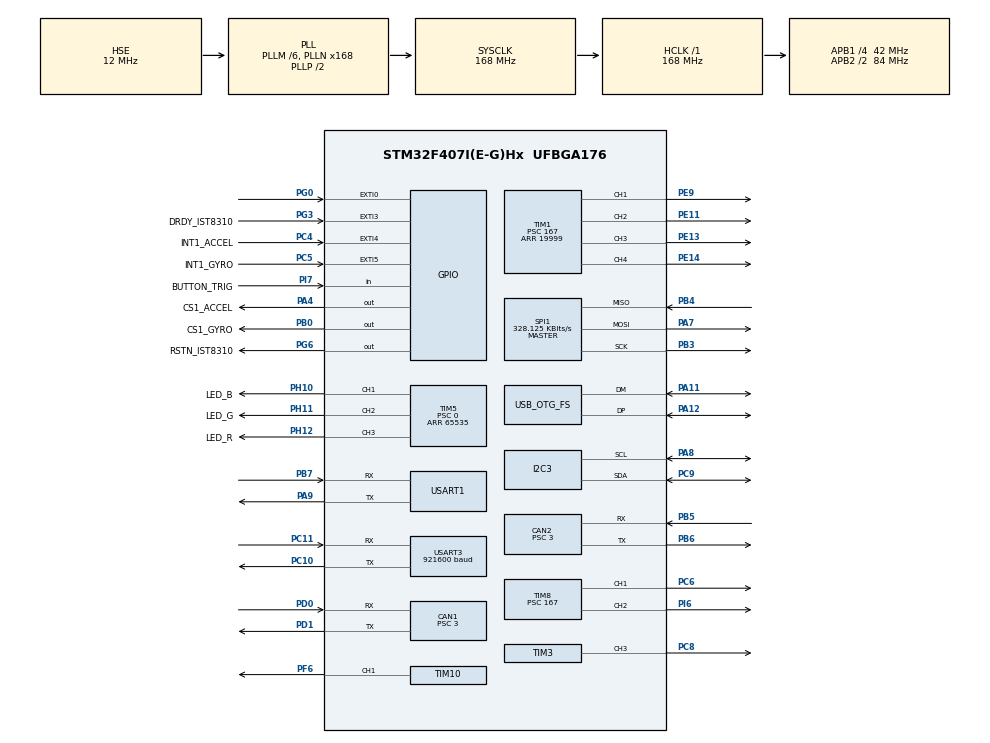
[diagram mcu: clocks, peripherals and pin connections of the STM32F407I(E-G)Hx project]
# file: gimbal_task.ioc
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CAN1.BS1=CAN_BS1_10TQ
CAN1.BS2=CAN_BS2_3TQ
CAN1.CalculateBaudRate=1000000
CAN1.CalculateTimeQuantum=71.42857142857143
CAN1.Prescaler=3
CAN2.BS1=CAN_BS1_10TQ
CAN2.BS2=CAN_BS2_3TQ
CAN2.CalculateBaudRate=1000000
CAN2.CalculateTimeQuantum=71.42857142857143
CAN2.Prescaler=3
Dma.Request0=SPI1_RX
Dma.Request1=SPI1_TX
Dma.Request2=USART3_RX
Dma.SPI1_RX.0.Direction=DMA_PERIPH_TO_MEMORY
Dma.SPI1_RX.0.FIFOMode=DMA_FIFOMODE_DISABLE
Dma.SPI1_RX.0.Instance=DMA2_Stream2
Dma.SPI1_RX.0.MemDataAlignment=DMA_MDATAALIGN_BYTE
Dma.SPI1_RX.0.MemInc=DMA_MINC_ENABLE
Dma.SPI1_RX.0.Mode=DMA_NORMAL
Dma.SPI1_RX.0.PeriphDataAlignment=DMA_PDATAALIGN_BYTE
Dma.SPI1_RX.0.PeriphInc=DMA_PINC_DISABLE
Dma.SPI1_RX.0.Priority=DMA_PRIORITY_VERY_HIGH
Dma.SPI1_TX.1.Direction=DMA_MEMORY_TO_PERIPH
Dma.SPI1_TX.1.FIFOMode=DMA_FIFOMODE_DISABLE
Dma.SPI1_TX.1.Instance=DMA2_Stream3
Dma.SPI1_TX.1.MemDataAlignment=DMA_MDATAALIGN_BYTE
Dma.SPI1_TX.1.MemInc=DMA_MINC_ENABLE
Dma.SPI1_TX.1.Mode=DMA_NORMAL
Dma.SPI1_TX.1.PeriphDataAlignment=DMA_PDATAALIGN_BYTE
Dma.SPI1_TX.1.PeriphInc=DMA_PINC_DISABLE
Dma.SPI1_TX.1.Priority=DMA_PRIORITY_HIGH
Dma.USART3_RX.2.Direction=DMA_PERIPH_TO_MEMORY
Dma.USART3_RX.2.FIFOMode=DMA_FIFOMODE_DISABLE
Dma.USART3_RX.2.Instance=DMA1_Stream1
Dma.USART3_RX.2.MemDataAlignment=DMA_MDATAALIGN_BYTE
Dma.USART3_RX.2.MemInc=DMA_MINC_ENABLE
Dma.USART3_RX.2.Mode=DMA_NORMAL
Dma.USART3_RX.2.PeriphDataAlignment=DMA_PDATAALIGN_BYTE
Dma.USART3_RX.2.PeriphInc=DMA_PINC_DISABLE
Dma.USART3_RX.2.Priority=DMA_PRIORITY_HIGH
FREERTOS.INCLUDE_eTaskGetState=1
FREERTOS.INCLUDE_pcTaskGetTaskName=1
FREERTOS.INCLUDE_uxTaskGetStackHighWaterMark=1
FREERTOS.INCLUDE_vTaskCleanUpResources=1
FREERTOS.INCLUDE_vTaskDelayUntil=1
FREERTOS.INCLUDE_xEventGroupSetBitFromISR=1
FREERTOS.INCLUDE_xQueueGetMutexHolder=1
FREERTOS.INCLUDE_xSemaphoreGetMutexHolder=1
FREERTOS.INCLUDE_xTaskAbortDelay=1
FREERTOS.INCLUDE_xTaskGetCurrentTaskHandle=1
FREERTOS.INCLUDE_xTaskGetHandle=1
FREERTOS.INCLUDE_xTimerPendFunctionCall=1
FREERTOS.Tasks01=test,24,128,test_task,As weak,NULL,Dynamic,NULL,NULL
FREERTOS.configTOTAL_HEAP_SIZE=24576
I2C3.I2C_Mode=I2C_Fast
Mcu.Family=STM32F4
Mcu.Name=STM32F407I(E-G)Hx
Mcu.Package=UFBGA176
NVIC.CAN1_RX0_IRQn=true\:6\:0\:true\:false\:true\:true\:true\:true\:true
NVIC.CAN2_RX0_IRQn=true\:6\:0\:true\:false\:true\:true\:true\:true\:true
NVIC.DMA1_Stream1_IRQn=true\:5\:0\:true\:false\:false\:true\:false\:false\:true
NVIC.DMA2_Stream2_IRQn=true\:5\:0\:true\:false\:false\:true\:false\:true\:true
NVIC.DMA2_Stream3_IRQn=true\:5\:0\:true\:false\:false\:true\:false\:true\:true
NVIC.EXTI0_IRQn=true\:6\:0\:true\:false\:true\:true\:true\:true\:true
NVIC.EXTI3_IRQn=true\:5\:0\:true\:false\:true\:true\:true\:true\:true
NVIC.EXTI4_IRQn=true\:5\:0\:true\:false\:true\:true\:true\:true\:true
NVIC.EXTI9_5_IRQn=true\:5\:0\:true\:false\:true\:true\:true\:true\:true
NVIC.OTG_FS_IRQn=true\:5\:0\:false\:false\:true\:true\:true\:true\:true
NVIC.PriorityGroup=NVIC_PRIORITYGROUP_4
NVIC.USART1_IRQn=true\:5\:0\:false\:false\:true\:true\:true\:true\:true
NVIC.USART3_IRQn=true\:4\:0\:true\:false\:false\:false\:true\:true\:true
PA11.Mode=Device_Only
PA11.Signal=USB_OTG_FS_DM
PA12.Mode=Device_Only
PA12.Signal=USB_OTG_FS_DP
PA13.Mode=Serial_Wire
PA13.Signal=SYS_JTMS-SWDIO
PA14.Mode=Serial_Wire
PA14.Signal=SYS_JTCK-SWCLK
PA4.GPIO_Label=CS1_ACCEL
PA4.GPIO_PuPd=GPIO_PULLUP
PA4.GPIO_Speed=GPIO_SPEED_FREQ_HIGH
PA4.PinState=GPIO_PIN_SET
PA4.Signal=GPIO_Output
PA7.GPIO_PuPd=GPIO_PULLUP
PA7.Mode=Full_Duplex_Master
PA7.Signal=SPI1_MOSI
PA8.GPIO_Pu=GPIO_PULLUP
PA8.Mode=I2C
PA8.Signal=I2C3_SCL
PA9.Mode=Asynchronous
PA9.Signal=USART1_TX
PB0.GPIO_Label=CS1_GYRO
PB0.GPIO_PuPd=GPIO_PULLUP
PB0.GPIO_Speed=GPIO_SPEED_FREQ_HIGH
PB0.PinState=GPIO_PIN_SET
PB0.Signal=GPIO_Output
PB3.GPIO_PuPd=GPIO_PULLUP
PB3.Mode=Full_Duplex_Master
PB3.Signal=SPI1_SCK
PB4.GPIO_PuPd=GPIO_PULLUP
PB4.Mode=Full_Duplex_Master
PB4.Signal=SPI1_MISO
PB5.Mode=CAN_Activate
PB5.Signal=CAN2_RX
PB6.Mode=CAN_Activate
PB6.Signal=CAN2_TX
PB7.Mode=Asynchronous
PB7.Signal=USART1_RX
PC10.Mode=Asynchronous
PC10.Signal=USART3_TX
PC11.Mode=Asynchronous
PC11.Signal=USART3_RX
PC4.GPIO_Label=INT1_ACCEL
PC4.GPIO_ModeDefaultEXTI=GPIO_MODE_IT_FALLING
PC4.GPIO_PuPd=GPIO_PULLUP
PC4.Signal=GPXTI4
PC5.GPIO_Label=INT1_GYRO
PC5.GPIO_ModeDefaultEXTI=GPIO_MODE_IT_FALLING
PC5.GPIO_PuPd=GPIO_PULLUP
PC5.Signal=GPXTI5
PC6.GPIO_PuPd=GPIO_PULLUP
PC6.GPIO_Speed=GPIO_SPEED_FREQ_HIGH
PC6.Signal=S_TIM8_CH1
PC8.GPIO_PuPd=GPIO_PULLUP
PC8.GPIO_Speed=GPIO_SPEED_FREQ_HIGH
PC8.Signal=S_TIM3_CH3
PC9.GPIO_Pu=GPIO_PULLUP
PC9.Mode=I2C
PC9.Signal=I2C3_SDA
PD0.Mode=CAN_Activate
PD0.Signal=CAN1_RX
PD1.Mode=CAN_Activate
PD1.Signal=CAN1_TX
PE11.GPIO_PuPd=GPIO_PULLUP
PE11.GPIO_Speed=GPIO_SPEED_FREQ_HIGH
PE11.Signal=S_TIM1_CH2
PE13.GPIO_PuPd=GPIO_PULLUP
PE13.GPIO_Speed=GPIO_SPEED_FREQ_HIGH
PE13.Signal=S_TIM1_CH3
PE14.GPIO_PuPd=GPIO_PULLUP
PE14.GPIO_Speed=GPIO_SPEED_FREQ_HIGH
PE14.Signal=S_TIM1_CH4
PE9.GPIO_PuPd=GPIO_PULLUP
PE9.GPIO_Speed=GPIO_SPEED_FREQ_HIGH
PE9.Signal=S_TIM1_CH1
PF6.GPIO_PuPd=GPIO_PULLUP
PF6.GPIO_Speed=GPIO_SPEED_FREQ_HIGH
PF6.Signal=S_TIM10_CH1
PG0.GPIO_ModeDefaultEXTI=GPIO_MODE_IT_FALLING
PG0.GPIO_PuPd=GPIO_PULLUP
PG0.Signal=GPXTI0
PG3.GPIO_Label=DRDY_IST8310
PG3.GPIO_ModeDefaultEXTI=GPIO_MODE_IT_FALLING
PG3.GPIO_PuPd=GPIO_PULLUP
PG3.Signal=GPXTI3
PG6.GPIO_Label=RSTN_IST8310
PG6.GPIO_PuPd=GPIO_PULLUP
PG6.GPIO_Speed=GPIO_SPEED_FREQ_MEDIUM
PG6.PinState=GPIO_PIN_SET
PG6.Signal=GPIO_Output
PH0-OSC_IN.Mode=HSE-External-Oscillator
PH0-OSC_IN.Signal=RCC_OSC_IN
PH1-OSC_OUT.Mode=HSE-External-Oscillator
PH1-OSC_OUT.Signal=RCC_OSC_OUT
PH10.GPIO_Label=LED_B
PH10.GPIO_PuPd=GPIO_PULLUP
PH10.GPIO_Speed=GPIO_SPEED_FREQ_HIGH
PH10.Signal=S_TIM5_CH1
PH11.GPIO_Label=LED_G
PH11.GPIO_PuPd=GPIO_PULLUP
PH11.GPIO_Speed=GPIO_SPEED_FREQ_HIGH
PH11.Signal=S_TIM5_CH2
PH12.GPIO_Label=LED_R
PH12.GPIO_PuPd=GPIO_PULLUP
PH12.GPIO_Speed=GPIO_SPEED_FREQ_HIGH
PH12.Signal=S_TIM5_CH3
PI6.GPIO_PuPd=GPIO_PULLUP
PI6.GPIO_Speed=GPIO_SPEED_FREQ_HIGH
PI6.Signal=S_TIM8_CH2
PI7.GPIO_Label=BUTTON_TRIG
PI7.GPIO_PuPd=GPIO_PULLUP
PI7.Signal=GPIO_Input
ProjectManager.HeapSize=0x2000
ProjectManager.StackSize=0x2000
ProjectManager.TargetToolchain=MDK-ARM V5
RCC.48MHZClocksFreq_Value=48000000
RCC.AHBFreq_Value=168000000
RCC.APB1CLKDivider=RCC_HCLK_DIV4
RCC.APB1Freq_Value=42000000
RCC.APB1TimFreq_Value=84000000
RCC.APB2CLKDivider=RCC_HCLK_DIV2
RCC.APB2Freq_Value=84000000
RCC.APB2TimFreq_Value=168000000
RCC.CortexFreq_Value=168000000
RCC.HCLKFreq_Value=168000000
RCC.HSE_VALUE=12000000
RCC.HSI_VALUE=16000000
RCC.LSE_VALUE=32768
RCC.PLLM=6
RCC.PLLN=168
RCC.PLLQ=7
RCC.RCC_RTC_Clock_SourceVirtual=RCC_RTCCLKSOURCE_HSE_DIV30
RCC.RCC_RTC_Clock_Source_FROM_HSE=RCC_RTCCLKSOURCE_HSE_DIV30
RCC.SYSCLKFreq_VALUE=168000000
RCC.SYSCLKSource=RCC_SYSCLKSOURCE_PLLCLK
RCC.VCOOutputFreq_Value=336000000
RTC.AsynchPrediv=124
RTC.SynchPrediv=3199
SH.S_TIM10_CH1.0=TIM10_CH1,PWM Generation1 CH1
SH.S_TIM1_CH1.0=TIM1_CH1,PWM Generation1 CH1
SH.S_TIM1_CH2.0=TIM1_CH2,PWM Generation2 CH2
SH.S_TIM1_CH3.0=TIM1_CH3,PWM Generation3 CH3
SH.S_TIM1_CH4.0=TIM1_CH4,PWM Generation4 CH4
SH.S_TIM3_CH3.0=TIM3_CH3,PWM Generation3 CH3
SH.S_TIM5_CH1.0=TIM5_CH1,PWM Generation1 CH1
SH.S_TIM5_CH2.0=TIM5_CH2,PWM Generation2 CH2
SH.S_TIM5_CH3.0=TIM5_CH3,PWM Generation3 CH3
SH.S_TIM8_CH1.0=TIM8_CH1,PWM Generation1 CH1
SH.S_TIM8_CH2.0=TIM8_CH2,PWM Generation2 CH2
SPI1.BaudRatePrescaler=SPI_BAUDRATEPRESCALER_256
SPI1.CLKPhase=SPI_PHASE_2EDGE
SPI1.CLKPolarity=SPI_POLARITY_HIGH
SPI1.CalculateBaudRate=328.125 KBits/s
SPI1.Direction=SPI_DIRECTION_2LINES
SPI1.Mode=SPI_MODE_MASTER
SPI1.VirtualType=VM_MASTER
TIM1.Channel-PWM\ Generation1\ CH1=TIM_CHANNEL_1
TIM1.Channel-PWM\ Generation2\ CH2=TIM_CHANNEL_2
TIM1.Channel-PWM\ Generation3\ CH3=TIM_CHANNEL_3
TIM1.Channel-PWM\ Generation4\ CH4=TIM_CHANNEL_4
TIM1.Period=19999
TIM1.Prescaler=167
TIM1.Pulse-PWM\ Generation1\ CH1=1000
TIM1.Pulse-PWM\ Generation2\ CH2=1000
TIM1.Pulse-PWM\ Generation3\ CH3=1000
TIM1.Pulse-PWM\ Generation4\ CH4=1000
TIM10.Channel=TIM_CHANNEL_1
TIM10.Period=4999
TIM3.Channel-PWM\ Generation3\ CH3=TIM_CHANNEL_3
TIM3.Period=8399
TIM4.Period=65535
TIM4.Prescaler=167
TIM5.Channel-PWM\ Generation1\ CH1=TIM_CHANNEL_1
TIM5.Channel-PWM\ Generation2\ CH2=TIM_CHANNEL_2
TIM5.Channel-PWM\ Generation3\ CH3=TIM_CHANNEL_3
TIM5.Period=65535
TIM5.Prescaler=0
TIM8.Channel-PWM\ Generation1\ CH1=TIM_CHANNEL_1
TIM8.Channel-PWM\ Generation2\ CH2=TIM_CHANNEL_2
TIM8.Period=19999
TIM8.Prescaler=167
TIM8.Pulse-PWM\ Generation1\ CH1=1000
TIM8.Pulse-PWM\ Generation2\ CH2=1000
USART1.VirtualMode=VM_ASYNC
USART3.BaudRate=921600
USART3.Parity=PARITY_EVEN
USART3.VirtualMode=VM_ASYNC
USB_DEVICE.CLASS_NAME_FS=CDC
USB_DEVICE.VirtualMode-CDC_FS=Cdc
USB_DEVICE.VirtualModeFS=Cdc_FS
USB_OTG_FS.VirtualMode=Device_Only
VP_CRC_VS_CRC.Mode=CRC_Activate
VP_FREERTOS_VS_CMSIS_V1.Mode=CMSIS_V1
VP_RTC_VS_RTC_Activate.Mode=RTC_Enabled
VP_TIM10_VS_ClockSourceINT.Mode=Enable_Timer
VP_TIM1_VS_ClockSourceINT.Mode=Internal
VP_TIM3_VS_ClockSourceINT.Mode=Internal
VP_TIM4_VS_ClockSourceINT.Mode=Internal
VP_TIM5_VS_ClockSourceINT.Mode=Internal
VP_TIM8_VS_ClockSourceINT.Mode=Internal
VP_USB_DEVICE_VS_USB_DEVICE_CDC_FS.Mode=CDC_FS
board=custom

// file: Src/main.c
/* USER CODE BEGIN Header */
/**
  ******************************************************************************
  * @file           : main.c
  * @brief          : Main program body
  ******************************************************************************
  * @attention
  *
  * <h2><center>&copy; Copyright (c) 2019 STMicroelectronics.
  * All rights reserved.</center></h2>
  *
  * This software component is licensed by ST under Ultimate Liberty license
  * SLA0044, the "License"; You may not use this file except in compliance with
  * the License. You may obtain a copy of the License at:
  *                             www.st.com/SLA0044
  *
  ******************************************************************************
  */
/* USER CODE END Header */
#include "main.h"
#include "cmsis_os.h"
#include "can.h"
#include "crc.h"
#include "dma.h"
#include "i2c.h"
#include "rtc.h"
#include "spi.h"
#include "tim.h"
#include "usart.h"
#include "usb_device.h"
#include "gpio.h"

/* USER CODE BEGIN Includes */
#include "bsp_can.h"
#include "bsp_delay.h"
#include "remote_control.h"
#include "detect_task.h"
#include "gimbal_task.h"
#include "INS_task.h"
#include "led_flow_task.h"
#include "bsp_dwt.h"
/* USER CODE END Includes */

void SystemClock_Config(void);
void MX_FREERTOS_Init(void);

int main(void)
{

  /* MCU Configuration--------------------------------------------------------*/

  /* Reset of all peripherals, Initializes the Flash interface and the Systick. */
  HAL_Init();

  /* Configure the system clock */
  SystemClock_Config();

  /* Initialize all configured peripherals */
  MX_GPIO_Init();
  MX_DMA_Init();
  MX_CAN1_Init();
  MX_CAN2_Init();
  MX_SPI1_Init();
  MX_TIM4_Init();
  MX_TIM5_Init();
  MX_USART3_UART_Init();
  MX_TIM8_Init();
  MX_I2C3_Init();
  MX_RTC_Init();
  MX_TIM1_Init();
  MX_TIM3_Init();
  MX_TIM10_Init();
  MX_USART1_UART_Init();
  MX_CRC_Init();
  /* USER CODE BEGIN 2 */

    MX_USB_DEVICE_Init();       //���⴮�ڳ�ʼ��

    can_filter_init();
    delay_init();
    remote_control_init();
	DWT_Init(168);
    while (BMI088_init(&hspi1, 1) != BMI088_NO_ERROR);
	INS_Init();
  /* USER CODE END 2 */

  /* Call init function for freertos objects (in cmsis_os2.c) */
  MX_FREERTOS_Init();

  /* Start scheduler */
  osKernelStart();

  /* We should never get here as control is now taken by the scheduler */

  /* Infinite loop */
  while (1)
  {

  }
}

void SystemClock_Config(void)
{
  RCC_OscInitTypeDef RCC_OscInitStruct = {0};
  RCC_ClkInitTypeDef RCC_ClkInitStruct = {0};

  /** Configure the main internal regulator output voltage
  */
  __HAL_RCC_PWR_CLK_ENABLE();
  __HAL_PWR_VOLTAGESCALING_CONFIG(PWR_REGULATOR_VOLTAGE_SCALE1);

  /** Initializes the RCC Oscillators according to the specified parameters
  * in the RCC_OscInitTypeDef structure.
  */
  RCC_OscInitStruct.OscillatorType = RCC_OSCILLATORTYPE_HSE;
  RCC_OscInitStruct.HSEState = RCC_HSE_ON;
  RCC_OscInitStruct.PLL.PLLState = RCC_PLL_ON;
  RCC_OscInitStruct.PLL.PLLSource = RCC_PLLSOURCE_HSE;
  RCC_OscInitStruct.PLL.PLLM = 6;
  RCC_OscInitStruct.PLL.PLLN = 168;
  RCC_OscInitStruct.PLL.PLLP = RCC_PLLP_DIV2;
  RCC_OscInitStruct.PLL.PLLQ = 7;
  if (HAL_RCC_OscConfig(&RCC_OscInitStruct) != HAL_OK)
  {
    Error_Handler();
  }

  /** Initializes the CPU, AHB and APB buses clocks
  */
  RCC_ClkInitStruct.ClockType = RCC_CLOCKTYPE_HCLK|RCC_CLOCKTYPE_SYSCLK
                              |RCC_CLOCKTYPE_PCLK1|RCC_CLOCKTYPE_PCLK2;
  RCC_ClkInitStruct.SYSCLKSource = RCC_SYSCLKSOURCE_PLLCLK;
  RCC_ClkInitStruct.AHBCLKDivider = RCC_SYSCLK_DIV1;
  RCC_ClkInitStruct.APB1CLKDivider = RCC_HCLK_DIV4;
  RCC_ClkInitStruct.APB2CLKDivider = RCC_HCLK_DIV2;

  if (HAL_RCC_ClockConfig(&RCC_ClkInitStruct, FLASH_LATENCY_5) != HAL_OK)
  {
    Error_Handler();
  }
}

void Error_Handler(void)
{
}
